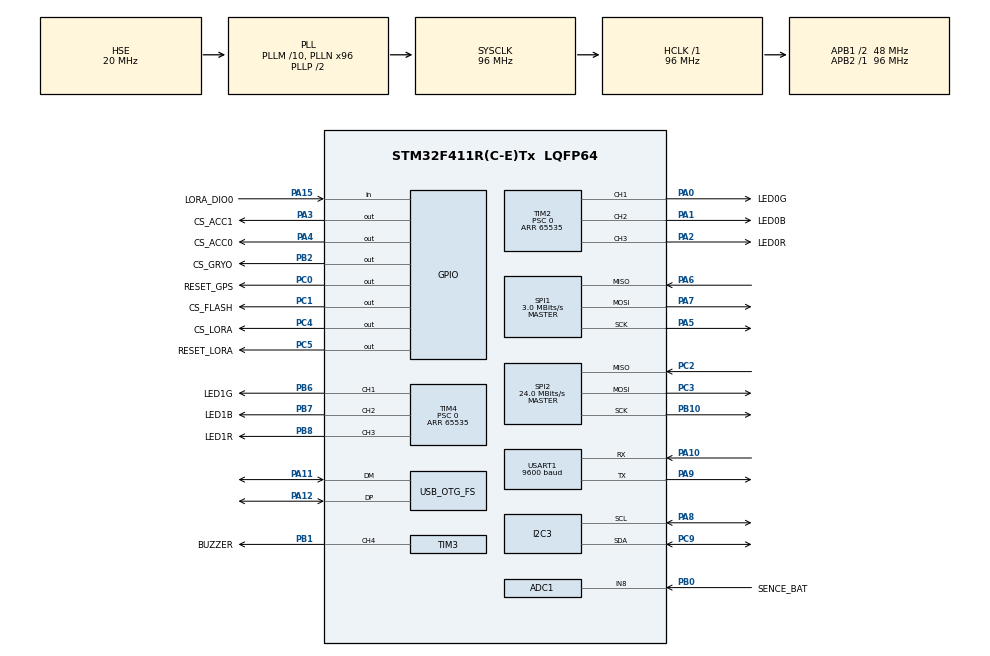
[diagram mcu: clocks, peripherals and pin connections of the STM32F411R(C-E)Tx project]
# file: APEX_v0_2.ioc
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ADC1.Channel-0\#ChannelRegularConversion=ADC_CHANNEL_8
ADC1.NbrOfConversionFlag=1
ADC1.Rank-0\#ChannelRegularConversion=1
ADC1.SamplingTime-0\#ChannelRegularConversion=ADC_SAMPLETIME_3CYCLES
ADC1.master=1
Dma.ADC1.8.Direction=DMA_PERIPH_TO_MEMORY
Dma.ADC1.8.FIFOMode=DMA_FIFOMODE_DISABLE
Dma.ADC1.8.Instance=DMA2_Stream4
Dma.ADC1.8.MemDataAlignment=DMA_MDATAALIGN_HALFWORD
Dma.ADC1.8.MemInc=DMA_MINC_ENABLE
Dma.ADC1.8.Mode=DMA_NORMAL
Dma.ADC1.8.PeriphDataAlignment=DMA_PDATAALIGN_HALFWORD
Dma.ADC1.8.PeriphInc=DMA_PINC_DISABLE
Dma.ADC1.8.Priority=DMA_PRIORITY_LOW
Dma.I2C3_RX.0.Direction=DMA_PERIPH_TO_MEMORY
Dma.I2C3_RX.0.FIFOMode=DMA_FIFOMODE_DISABLE
Dma.I2C3_RX.0.Instance=DMA1_Stream1
Dma.I2C3_RX.0.MemDataAlignment=DMA_MDATAALIGN_BYTE
Dma.I2C3_RX.0.MemInc=DMA_MINC_ENABLE
Dma.I2C3_RX.0.Mode=DMA_NORMAL
Dma.I2C3_RX.0.PeriphDataAlignment=DMA_PDATAALIGN_BYTE
Dma.I2C3_RX.0.PeriphInc=DMA_PINC_DISABLE
Dma.I2C3_RX.0.Priority=DMA_PRIORITY_LOW
Dma.I2C3_TX.1.Direction=DMA_MEMORY_TO_PERIPH
Dma.I2C3_TX.1.FIFOMode=DMA_FIFOMODE_DISABLE
Dma.I2C3_TX.1.Instance=DMA1_Stream5
Dma.I2C3_TX.1.MemDataAlignment=DMA_MDATAALIGN_BYTE
Dma.I2C3_TX.1.MemInc=DMA_MINC_ENABLE
Dma.I2C3_TX.1.Mode=DMA_NORMAL
Dma.I2C3_TX.1.PeriphDataAlignment=DMA_PDATAALIGN_BYTE
Dma.I2C3_TX.1.PeriphInc=DMA_PINC_DISABLE
Dma.I2C3_TX.1.Priority=DMA_PRIORITY_LOW
Dma.Request0=I2C3_RX
Dma.Request1=I2C3_TX
Dma.Request2=SPI1_RX
Dma.Request3=SPI1_TX
Dma.Request4=SPI2_RX
Dma.Request5=SPI2_TX
Dma.Request6=USART1_RX
Dma.Request7=USART1_TX
Dma.Request8=ADC1
Dma.SPI1_RX.2.Direction=DMA_PERIPH_TO_MEMORY
Dma.SPI1_RX.2.FIFOMode=DMA_FIFOMODE_DISABLE
Dma.SPI1_RX.2.Instance=DMA2_Stream0
Dma.SPI1_RX.2.MemDataAlignment=DMA_MDATAALIGN_BYTE
Dma.SPI1_RX.2.MemInc=DMA_MINC_ENABLE
Dma.SPI1_RX.2.Mode=DMA_NORMAL
Dma.SPI1_RX.2.PeriphDataAlignment=DMA_PDATAALIGN_BYTE
Dma.SPI1_RX.2.PeriphInc=DMA_PINC_DISABLE
Dma.SPI1_RX.2.Priority=DMA_PRIORITY_LOW
Dma.SPI1_TX.3.Direction=DMA_MEMORY_TO_PERIPH
Dma.SPI1_TX.3.FIFOMode=DMA_FIFOMODE_DISABLE
Dma.SPI1_TX.3.Instance=DMA2_Stream2
Dma.SPI1_TX.3.MemDataAlignment=DMA_MDATAALIGN_BYTE
Dma.SPI1_TX.3.MemInc=DMA_MINC_ENABLE
Dma.SPI1_TX.3.Mode=DMA_NORMAL
Dma.SPI1_TX.3.PeriphDataAlignment=DMA_PDATAALIGN_BYTE
Dma.SPI1_TX.3.PeriphInc=DMA_PINC_DISABLE
Dma.SPI1_TX.3.Priority=DMA_PRIORITY_LOW
Dma.SPI2_RX.4.Direction=DMA_PERIPH_TO_MEMORY
Dma.SPI2_RX.4.FIFOMode=DMA_FIFOMODE_DISABLE
Dma.SPI2_RX.4.Instance=DMA1_Stream3
Dma.SPI2_RX.4.MemDataAlignment=DMA_MDATAALIGN_BYTE
Dma.SPI2_RX.4.MemInc=DMA_MINC_ENABLE
Dma.SPI2_RX.4.Mode=DMA_NORMAL
Dma.SPI2_RX.4.PeriphDataAlignment=DMA_PDATAALIGN_BYTE
Dma.SPI2_RX.4.PeriphInc=DMA_PINC_DISABLE
Dma.SPI2_RX.4.Priority=DMA_PRIORITY_LOW
Dma.SPI2_TX.5.Direction=DMA_MEMORY_TO_PERIPH
Dma.SPI2_TX.5.FIFOMode=DMA_FIFOMODE_DISABLE
Dma.SPI2_TX.5.Instance=DMA1_Stream4
Dma.SPI2_TX.5.MemDataAlignment=DMA_MDATAALIGN_BYTE
Dma.SPI2_TX.5.MemInc=DMA_MINC_ENABLE
Dma.SPI2_TX.5.Mode=DMA_NORMAL
Dma.SPI2_TX.5.PeriphDataAlignment=DMA_PDATAALIGN_BYTE
Dma.SPI2_TX.5.PeriphInc=DMA_PINC_DISABLE
Dma.SPI2_TX.5.Priority=DMA_PRIORITY_LOW
Dma.USART1_RX.6.Direction=DMA_PERIPH_TO_MEMORY
Dma.USART1_RX.6.FIFOMode=DMA_FIFOMODE_DISABLE
Dma.USART1_RX.6.Instance=DMA2_Stream5
Dma.USART1_RX.6.MemDataAlignment=DMA_MDATAALIGN_BYTE
Dma.USART1_RX.6.MemInc=DMA_MINC_ENABLE
Dma.USART1_RX.6.Mode=DMA_NORMAL
Dma.USART1_RX.6.PeriphDataAlignment=DMA_PDATAALIGN_BYTE
Dma.USART1_RX.6.PeriphInc=DMA_PINC_DISABLE
Dma.USART1_RX.6.Priority=DMA_PRIORITY_LOW
Dma.USART1_TX.7.Direction=DMA_MEMORY_TO_PERIPH
Dma.USART1_TX.7.FIFOMode=DMA_FIFOMODE_DISABLE
Dma.USART1_TX.7.Instance=DMA2_Stream7
Dma.USART1_TX.7.MemDataAlignment=DMA_MDATAALIGN_BYTE
Dma.USART1_TX.7.MemInc=DMA_MINC_ENABLE
Dma.USART1_TX.7.Mode=DMA_NORMAL
Dma.USART1_TX.7.PeriphDataAlignment=DMA_PDATAALIGN_BYTE
Dma.USART1_TX.7.PeriphInc=DMA_PINC_DISABLE
Dma.USART1_TX.7.Priority=DMA_PRIORITY_LOW
Mcu.Family=STM32F4
Mcu.Name=STM32F411R(C-E)Tx
Mcu.Package=LQFP64
NVIC.DMA1_Stream1_IRQn=true\:0\:0\:false\:false\:true\:false\:true\:true
NVIC.DMA1_Stream3_IRQn=true\:0\:0\:false\:false\:true\:false\:true\:true
NVIC.DMA1_Stream4_IRQn=true\:0\:0\:false\:false\:true\:false\:true\:true
NVIC.DMA1_Stream5_IRQn=true\:0\:0\:false\:false\:true\:false\:true\:true
NVIC.DMA2_Stream0_IRQn=true\:0\:0\:false\:false\:true\:false\:true\:true
NVIC.DMA2_Stream2_IRQn=true\:0\:0\:false\:false\:true\:false\:true\:true
NVIC.DMA2_Stream4_IRQn=true\:0\:0\:false\:false\:true\:false\:true\:true
NVIC.DMA2_Stream5_IRQn=true\:0\:0\:false\:false\:true\:false\:true\:true
NVIC.DMA2_Stream7_IRQn=true\:0\:0\:false\:false\:true\:false\:true\:true
NVIC.OTG_FS_IRQn=true\:0\:0\:false\:false\:true\:false\:true\:true
NVIC.PriorityGroup=NVIC_PRIORITYGROUP_4
NVIC.USART1_IRQn=true\:0\:0\:false\:false\:true\:true\:true\:true
PA0-WKUP.GPIO_Label=LED0G
PA0-WKUP.Signal=S_TIM2_CH1_ETR
PA1.GPIO_Label=LED0B
PA1.Signal=S_TIM2_CH2
PA10.Mode=Asynchronous
PA10.Signal=USART1_RX
PA11.Mode=Device_Only
PA11.Signal=USB_OTG_FS_DM
PA12.Mode=Device_Only
PA12.Signal=USB_OTG_FS_DP
PA13.Mode=Serial_Wire
PA13.Signal=SYS_JTMS-SWDIO
PA14.Mode=Serial_Wire
PA14.Signal=SYS_JTCK-SWCLK
PA15.GPIO_Label=LORA_DIO0
PA15.Signal=GPIO_Input
PA2.GPIO_Label=LED0R
PA2.Signal=S_TIM2_CH3
PA3.GPIO_Label=CS_ACC1
PA3.PinState=GPIO_PIN_SET
PA3.Signal=GPIO_Output
PA4.GPIO_Label=CS_ACC0
PA4.PinState=GPIO_PIN_SET
PA4.Signal=GPIO_Output
PA5.Mode=Full_Duplex_Master
PA5.Signal=SPI1_SCK
PA6.Mode=Full_Duplex_Master
PA6.Signal=SPI1_MISO
PA7.Mode=Full_Duplex_Master
PA7.Signal=SPI1_MOSI
PA8.Mode=I2C
PA8.Signal=I2C3_SCL
PA9.Mode=Asynchronous
PA9.Signal=USART1_TX
PB0.GPIO_Label=SENCE_BAT
PB0.Signal=ADCx_IN8
PB1.GPIO_Label=BUZZER
PB1.Signal=S_TIM3_CH4
PB10.Mode=Full_Duplex_Master
PB10.Signal=SPI2_SCK
PB2.GPIO_Label=CS_GRYO
PB2.PinState=GPIO_PIN_SET
PB2.Signal=GPIO_Output
PB6.GPIO_Label=LED1G
PB6.Signal=S_TIM4_CH1
PB7.GPIO_Label=LED1B
PB7.Signal=S_TIM4_CH2
PB8.GPIO_Label=LED1R
PB8.Signal=S_TIM4_CH3
PC0.GPIO_Label=RESET_GPS
PC0.PinState=GPIO_PIN_SET
PC0.Signal=GPIO_Output
PC1.GPIO_Label=CS_FLASH
PC1.PinState=GPIO_PIN_SET
PC1.Signal=GPIO_Output
PC14-OSC32_IN.Mode=LSE-External-Oscillator
PC14-OSC32_IN.Signal=RCC_OSC32_IN
PC15-OSC32_OUT.Mode=LSE-External-Oscillator
PC15-OSC32_OUT.Signal=RCC_OSC32_OUT
PC2.Mode=Full_Duplex_Master
PC2.Signal=SPI2_MISO
PC3.Mode=Full_Duplex_Master
PC3.Signal=SPI2_MOSI
PC4.GPIO_Label=CS_LORA
PC4.PinState=GPIO_PIN_SET
PC4.Signal=GPIO_Output
PC5.GPIO_Label=RESET_LORA
PC5.PinState=GPIO_PIN_SET
PC5.Signal=GPIO_Output
PC9.Mode=I2C
PC9.Signal=I2C3_SDA
PH0\ -\ OSC_IN.Mode=HSE-External-Oscillator
PH0\ -\ OSC_IN.Signal=RCC_OSC_IN
PH1\ -\ OSC_OUT.Mode=HSE-External-Oscillator
PH1\ -\ OSC_OUT.Signal=RCC_OSC_OUT
ProjectManager.HeapSize=0x200
ProjectManager.StackSize=0x400
ProjectManager.TargetToolchain=CMake
RCC.48MHZClocksFreq_Value=48000000
RCC.AHBFreq_Value=96000000
RCC.APB1CLKDivider=RCC_HCLK_DIV2
RCC.APB1Freq_Value=48000000
RCC.APB1TimFreq_Value=96000000
RCC.APB2Freq_Value=96000000
RCC.APB2TimFreq_Value=96000000
RCC.CortexFreq_Value=96000000
RCC.HCLKFreq_Value=96000000
RCC.HSE_VALUE=20000000
RCC.HSI_VALUE=16000000
RCC.PLLM=10
RCC.PLLN=96
RCC.SYSCLKFreq_VALUE=96000000
RCC.SYSCLKSource=RCC_SYSCLKSOURCE_PLLCLK
RCC.VCOOutputFreq_Value=192000000
SH.ADCx_IN8.0=ADC1_IN8,IN8
SH.S_TIM2_CH1_ETR.0=TIM2_CH1,PWM Generation1 CH1
SH.S_TIM2_CH2.0=TIM2_CH2,PWM Generation2 CH2
SH.S_TIM2_CH3.0=TIM2_CH3,PWM Generation3 CH3
SH.S_TIM3_CH4.0=TIM3_CH4,PWM Generation4 CH4
SH.S_TIM4_CH1.0=TIM4_CH1,PWM Generation1 CH1
SH.S_TIM4_CH2.0=TIM4_CH2,PWM Generation2 CH2
SH.S_TIM4_CH3.0=TIM4_CH3,PWM Generation3 CH3
SPI1.BaudRatePrescaler=SPI_BAUDRATEPRESCALER_32
SPI1.CalculateBaudRate=3.0 MBits/s
SPI1.Direction=SPI_DIRECTION_2LINES
SPI1.Mode=SPI_MODE_MASTER
SPI1.VirtualType=VM_MASTER
SPI2.CalculateBaudRate=24.0 MBits/s
SPI2.Direction=SPI_DIRECTION_2LINES
SPI2.Mode=SPI_MODE_MASTER
SPI2.VirtualType=VM_MASTER
TIM2.Channel-PWM\ Generation1\ CH1=TIM_CHANNEL_1
TIM2.Channel-PWM\ Generation2\ CH2=TIM_CHANNEL_2
TIM2.Channel-PWM\ Generation3\ CH3=TIM_CHANNEL_3
TIM2.Period=65535
TIM2.Prescaler=0
TIM3.Channel-PWM\ Generation4\ CH4=TIM_CHANNEL_4
TIM3.Period=65535
TIM3.Prescaler=0
TIM4.Channel-PWM\ Generation1\ CH1=TIM_CHANNEL_1
TIM4.Channel-PWM\ Generation2\ CH2=TIM_CHANNEL_2
TIM4.Channel-PWM\ Generation3\ CH3=TIM_CHANNEL_3
TIM4.Period=65535
TIM4.Prescaler=0
USART1.BaudRate=9600
USART1.VirtualMode=VM_ASYNC
USB_DEVICE.CLASS_NAME_FS=CDC
USB_DEVICE.VirtualMode=Cdc
USB_DEVICE.VirtualModeFS=Cdc_FS
USB_OTG_FS.VirtualMode=Device_Only
VP_TIM2_VS_ClockSourceINT.Mode=Internal
VP_TIM3_VS_ClockSourceINT.Mode=Internal
VP_TIM4_VS_ClockSourceINT.Mode=Internal
VP_USB_DEVICE_VS_USB_DEVICE_CDC_FS.Mode=CDC_FS
board=custom

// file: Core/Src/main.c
/* USER CODE BEGIN Header */
/**
  ******************************************************************************
  * @file           : main.c
  * @brief          : Main program body
  ******************************************************************************
  * @attention
  *
  * Copyright (c) 2025 STMicroelectronics.
  * All rights reserved.
  *
  * This software is licensed under terms that can be found in the LICENSE file
  * in the root directory of this software component.
  * If no LICENSE file comes with this software, it is provided AS-IS.
  *
  ******************************************************************************
  */
  /* USER CODE END Header */
  /* Includes ------------------------------------------------------------------*/
#include "main.h"
#include "usb_device.h"

/* USER CODE BEGIN Includes */

#include "drivers/ADXL375.h"
#include "drivers/BMI088.h"
#include "drivers/BMP388.h"
#include "drivers/BMP388.h"
#include "drivers/buzzer.h"
#include "drivers/gps.h"
#include "drivers/led.h"
#include "drivers/LSM303AGR.h"
#include "drivers/rfm96w.h"
#include "drivers/usb.h"
#include "drivers/w25q_mem.h"

#include "peripherals/adc.h"
#include "peripherals/gpio.h"
#include "peripherals/dma.h"
#include "peripherals/i2c.h"
#include "peripherals/spi.h"
#include "peripherals/tim.h"
#include "peripherals/usart.h"

#include "utils/scheduler.h"
#include "utils/test.h"

#include "usbd_cdc_if.h"

/* USER CODE END Includes */

/* USER CODE BEGIN PV */

// MACHINE machine;

/* USER CODE END PV */

void SystemClock_Config(void);

/* USER CODE BEGIN 0 */
uint32_t time_rfm;
/* USER CODE END 0 */

int main(void) {

	/* MCU Configuration--------------------------------------------------------*/

	/* Reset of all peripherals, Initializes the Flash interface and the Systick. */
	HAL_Init();

	/* Configure the system clock */
	SystemClock_Config();

	/* Initialize all configured peripherals */
	MX_GPIO_Init();
	MX_DMA_Init();
	MX_I2C3_Init();
	MX_SPI2_Init();
	MX_TIM2_Init();
	MX_TIM4_Init();
	MX_USART1_UART_Init();
	MX_ADC1_Init();
	MX_SPI1_Init();
	MX_TIM3_Init();
	MX_USB_DEVICE_Init();
	/* USER CODE BEGIN 2 */

	GMS_init(&GMS_memory);

	ADXL375 adxl375;
	BMI088 bmi088;
	BMP388_HandleTypeDef bmp388;
	BUZZER buzzer;
	GPS_t gps;
	LED_RGB led_rgb_0;
	LED_RGB led_rgb_1;
	LSM303AGR lsm303agr;
	RFM96_LORA_Chip rfm96w;
	W25Q_Chip w25q_mem;

	COMPONENTS components;
	init_components(&components,
					&adxl375,
					&bmi088,
					&bmp388,
					&buzzer,
					&gps,
					&led_rgb_0,
					&led_rgb_1,
					&lsm303agr,
					&rfm96w,
					&w25q_mem);

	FLASH_STREAM flash_stream;
	init_machine(&machine, &components, &flash_stream);

	init_obj_pools();

	SCHEDULER scheduler;
	SCHEDULER_init(&scheduler);

	// TASK *task = SCHEDULER_add_task_macro(&scheduler, ASYNC_BUZZER_play_note, false);
	// ASYNC_BUZZER_play_note_init(task, &buzzer,
	// 							buzzer_song_bank.beep_0_freqs,
	// 							buzzer_song_bank.beep_0_durations,
	// 							BUZZER_BEEP_SONG_SIZE);

	// uint32_t addr;
	// for (int i = 0; i < 16; i++) {
	// 	addr = 4096 * 16 + i * 4096;
	// 	W25Q_EarseSector(&w25q_mem, addr);
	// }

	// W25Q_EarseSector(&w25q_mem, 0);
	// W25Q_WaitForReady(&w25q_mem);

	// uint8_t data[256] = { 0 };

	// for (int i = 0; i < 256; i++) {
	// 	data[i] = i;
	// }
	// uint32_t addr = 0x0012000;
	// W25Q_PageProgram(&w25q_mem, data, addr, 255);

	// for (int i = 0; i < 32; i++) {
	// 	uint8_t buf[256] = { 0 };
	// 	addr = 256 * i;
	// 	W25Q_ReadData(&w25q_mem, buf, addr, 256);
	// 	__NOP();
	// }

	// uint32_t addr;
	// for (int i = 0; i < 16 * 16 * 256; i++) {
	// 	addr = i * 256;
	// 	W25Q_PageProgram(&w25q_mem, data, addr, 256);
	// }

	// W25Q_EarseSector(&w25q_mem, 0);

	// uint8_t tx_buf[5] = { W25Q_64KB_BLOCK_ERASE, 0, 0, 0, 0 };
	// W25Q_TransmitReceive(&w25q_mem, tx_buf, NULL, 5, 0);

	// W25Q_WaitForReady(&w25q_mem);

	// uint8_t data[256] = { 0 };

	// W25Q_ReadData(&w25q_mem, data, 0, 256);

	// __NOP();

	// uint32_t addr;
	// for (int i = 0; i < 16 * 256; i++) {
	// 	addr = 4096 * 16 + i * 256;
	// 	W25Q_PageProgram(&w25q_mem, data, addr, 256);
	// }

	BUZZER_play_note(&buzzer,
					 buzzer_song_bank.beep_0_freqs,
					 buzzer_song_bank.beep_0_durations,
					 BUZZER_BEEP_SONG_SIZE);
	HAL_Delay(1500);

	// TASK* task = SCHEDULER_add_task_macro(&scheduler, ASYNC_LED_RGB_Blink, false);
	// ASYNC_LED_RGB_Blink_init(task, &machine.led_rgb,

	// LED led0_g;
	// LED_Init(&led0_g, &htim3, TIM_CHANNEL_1);

	// LED_SetBrightness(&led0_g, 127);

	// LED_RGB_SetColor(machine.components->led_rgb_0, 0, 255, 0);

	uint8_t gps_tx_buf[4096] = { 0 };

	char buff[256];
	char acc_tot[20], lat[20], lon[20], alt[10], time[10];

	DATA_ALL_TIMESTAMP_2 data;
	data.dummy_start = 0x55AA;
	data.dummy_end = 0xADDE;

	MACHINE_STATE_2 state = MACHINE_STATE_2_START_TIMER;

	uint8_t nb_acc;
	bool flight_start = false;
	float max_acc = 0.0f;

	uint32_t i;
	uint32_t next_time;

	FLASH_STREAM fs;
	flash_stream_init(&fs, machine.components->flash, sizeof(DATA_ALL_TIMESTAMP_2));

	/* USER CODE END 2 */

	/* Infinite loop */
	/* USER CODE BEGIN WHILE */
	while (1) {
		SCHEDULER_run(&scheduler);
		add_task_if_flag(&scheduler, &machine);
		// size_t size = sizeof(DATA_ALL_TIMESTAMP);

		HAL_UARTEx_ReceiveToIdle_DMA(machine.components->gps->uart, machine.components->gps->rx_buffer, RX_BUF_SIZE);

		// HAL_UART_Receive(gps.uart, gps_tx_buf, sizeof(gps_tx_buf), 100);
		// CDC_Transmit_FS(gps_tx_buf, sizeof(gps_tx_buf));
		// CDC_Transmit_FS(machine.components->gps->rx_buffer, sizeof(GPS_BUF_SIZE));
			// if (HAL_GetTick() - time0 <= 10000) {
		// if (i < 0x100000) { // 65536 bytes
			  //     CDC_Transmit_FS(gps_tx_buf, sizeof(gps_tx_buf));
		//     i += sizeof(gps_tx_buf);
		// }
		// test_USB();
			  // HAL_Delay(1);
			// } else {
			// 	__NOP(); // Do nothing after 10 seconds
			// }

		// size_t size = GMS_get_free_size(&GMS_memory);
		// sprintf(buff, "Free blocks size: %u\n", size);
		// CDC_Transmit_FS((uint8_t*)buff, strlen(buff) + 1);
		// HAL_Delay(1);

		switch (state) {
		case MACHINE_STATE_2_START_TIMER: {
			next_time = HAL_GetTick() + 1000 * 60; // Start timer for 1 min
			// next_time = HAL_GetTick(); // Start timer for 1 min
			state = MACHINE_STATE_2_WAIT_TIMER;
			break; }
		case MACHINE_STATE_2_WAIT_TIMER: {
			uint32_t time0 = HAL_GetTick();
			if (HAL_GetTick() >= next_time) {
				state = MACHINE_STATE_2_CHECK_TELEM;
				next_time = HAL_GetTick() + 5000; // Reset timer for 5 sec
				i++;
			}
			break; }
		case MACHINE_STATE_2_CHECK_TELEM: {
			sprintf(buff, "Ping APEX %i\n", i);
			i++;
			RFM96_LORA_Print(&rfm96w, buff);
			HAL_Delay(200);
			uint32_t time0 = HAL_GetTick();
			if (HAL_GetTick() >= next_time) {
				state = MACHINE_STATE_2_DO;
			}
			break; }
		case MACHINE_STATE_2_DO: {

			BMI088_ReadAccelerometer(machine.components->bmi);
			BMI088_ReadGyroscope(machine.components->bmi);

			data.bmi088_acc.x = machine.components->bmi->acc_mps2.x;
			data.bmi088_acc.y = machine.components->bmi->acc_mps2.y;
			data.bmi088_acc.z = machine.components->bmi->acc_mps2.z;
			data.bmi088_gyr.x = machine.components->bmi->gyr_rps.x;
			data.bmi088_gyr.y = machine.components->bmi->gyr_rps.y;
			data.bmi088_gyr.z = machine.components->bmi->gyr_rps.z;
			data.latitude = machine.components->gps->dec_latitude;
			data.longitude = machine.components->gps->dec_longitude;
			data.altitude = machine.components->gps->altitude_ft;
			data.gps_time = machine.components->gps->utc_time;

			machine.datas.gps_time += 20000; // GMT+2

			float acc_tot_f = sqrtf(
				data.bmi088_acc.x * data.bmi088_acc.x +
				data.bmi088_acc.y * data.bmi088_acc.y +
				data.bmi088_acc.z * data.bmi088_acc.z);

			max_acc = acc_tot_f > max_acc ? acc_tot_f : max_acc;

			if (!flight_start) {
				if (acc_tot_f > 9.81 * 3.0f) {
					nb_acc++;
					if (nb_acc > 3) {
						flight_start = true;
					}
				}
			}

			float_format(acc_tot, acc_tot_f, 5, 10);
			float_format(lat, machine.datas.latitude, 5, 10);
			float_format(lon, machine.datas.longitude, 5, 10);
			float_format(alt, machine.datas.altitude, 5, 10);
			float_format(time, machine.datas.gps_time, 2, 10);

			sprintf(buff, "%s, %s,%s,%s,%s", acc_tot, lon, lat, alt, time);

			RFM96_LORA_Print(&rfm96w, buff);

			HAL_Delay(100);
			state = MACHINE_STATE_2_WRIT_FLASH;
			break; }
		case MACHINE_STATE_2_WRIT_FLASH: {
			if (flight_start) {
				flash_stream_write(&fs, (uint8_t*)&data, sizeof(DATA_ALL_TIMESTAMP_2));
			}
			state = MACHINE_STATE_2_DO;
		}
		default: {
			break; }
		}

		// TEST ENVOIE DATA
		// char buff[256] = "Coucou, je m'appelle Malo !";
		// RFM96_LORA_Print(&rfm96w, buff);
		// HAL_Delay(100);

		// TEST RECEPTION DATA
		// char buff[256] = { 0 };
		// int len = RFM96_LORA_ParsePacket(&rfm96w);
		// if (len > 0) {
		// 	RFM96_LORA_Read(&rfm96w, (uint8_t*)buff, len);
		// 	CDC_Transmit_FS((uint8_t*)buff, len);
		// 	HAL_Delay(1);
		// }

		/* USER CODE END WHILE */

	}
}

void SystemClock_Config(void) {
	RCC_OscInitTypeDef RCC_OscInitStruct = { 0 };
	RCC_ClkInitTypeDef RCC_ClkInitStruct = { 0 };

	/** Configure the main internal regulator output voltage
	*/
	__HAL_RCC_PWR_CLK_ENABLE();
	__HAL_PWR_VOLTAGESCALING_CONFIG(PWR_REGULATOR_VOLTAGE_SCALE1);

	/** Initializes the RCC Oscillators according to the specified parameters
	* in the RCC_OscInitTypeDef structure.
	*/
	RCC_OscInitStruct.OscillatorType = RCC_OSCILLATORTYPE_HSE;
	RCC_OscInitStruct.HSEState = RCC_HSE_ON;
	RCC_OscInitStruct.PLL.PLLState = RCC_PLL_ON;
	RCC_OscInitStruct.PLL.PLLSource = RCC_PLLSOURCE_HSE;
	RCC_OscInitStruct.PLL.PLLM = 10;
	RCC_OscInitStruct.PLL.PLLN = 96;
	RCC_OscInitStruct.PLL.PLLP = RCC_PLLP_DIV2;
	RCC_OscInitStruct.PLL.PLLQ = 4;
	if (HAL_RCC_OscConfig(&RCC_OscInitStruct) != HAL_OK) {
		Error_Handler();
	}

	/** Initializes the CPU, AHB and APB buses clocks
	*/
	RCC_ClkInitStruct.ClockType = RCC_CLOCKTYPE_HCLK | RCC_CLOCKTYPE_SYSCLK
		| RCC_CLOCKTYPE_PCLK1 | RCC_CLOCKTYPE_PCLK2;
	RCC_ClkInitStruct.SYSCLKSource = RCC_SYSCLKSOURCE_PLLCLK;
	RCC_ClkInitStruct.AHBCLKDivider = RCC_SYSCLK_DIV1;
	RCC_ClkInitStruct.APB1CLKDivider = RCC_HCLK_DIV2;
	RCC_ClkInitStruct.APB2CLKDivider = RCC_HCLK_DIV1;

	if (HAL_RCC_ClockConfig(&RCC_ClkInitStruct, FLASH_LATENCY_3) != HAL_OK) {
		Error_Handler();
	}
}

void Error_Handler(void) {
	__disable_irq();
	while (1) {
	}
}
